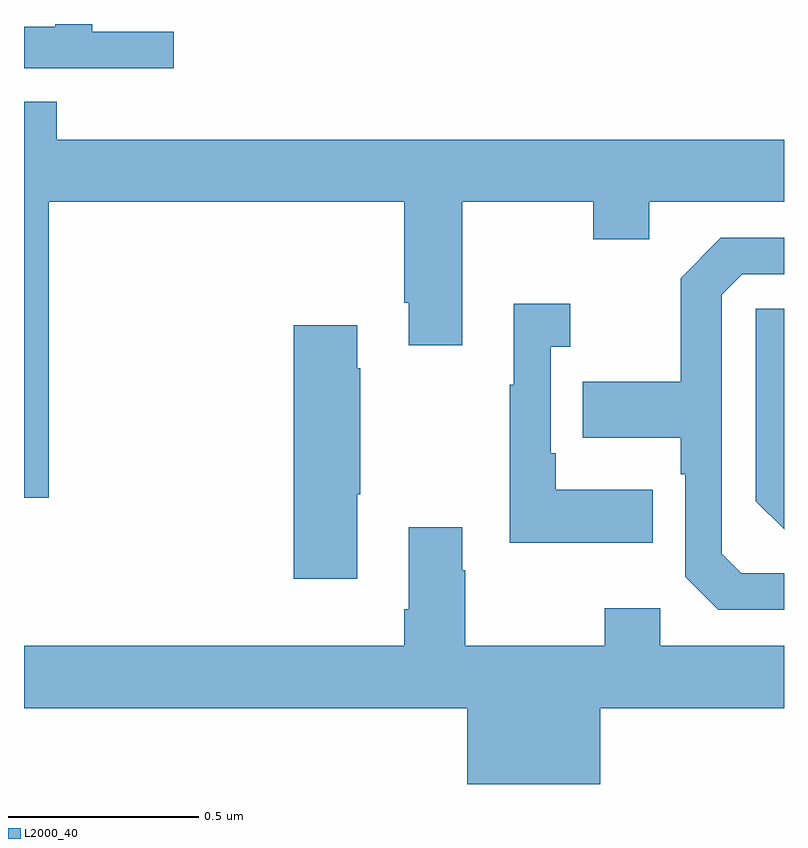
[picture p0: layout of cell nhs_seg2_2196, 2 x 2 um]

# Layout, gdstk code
import gdstk
lib = gdstk.Library(unit=1e-6, precision=1e-09)
def P(c, l, *ps):  # polygons
    for p in ps: c.add(gdstk.Polygon(p, *l))
L2000_40 = (2000, 40)

nhs_seg2_2196 = lib.new_cell('nhs_seg2_2196')
P(nhs_seg2_2196, L2000_40, [(138.394,618.78),(138.18,618.78),(138.18,618.8),(138.082,618.8),(138.082,618.793),(138,618.793),(138,618.684),(138.394,618.684)],
  [(138.065,618.332),(139.001,618.332),(139.001,618.067),(139.013,618.067),(139.013,617.955),(139.153,617.955),(139.153,618.332),(139.498,618.332),(139.498,618.233),(139.645,618.233),(139.645,618.332),(140,618.332),(140,618.496),(138.086,618.496),(138.086,618.595),(138,618.595),(138,617.553),(138.065,617.553)],
  [(140,617.355),(139.887,617.355),(139.836,617.406),(139.836,618.087),(139.89,618.141),(140,618.141),(140,618.237),(139.833,618.237),(139.728,618.131),(139.728,617.859),(139.471,617.859),(139.471,617.711),(139.728,617.711),(139.728,617.615),(139.74,617.615),(139.74,617.346),(139.827,617.259),(140,617.259)],
  [(139.655,617.575),(139.399,617.575),(139.399,617.671),(139.386,617.671),(139.386,617.951),(139.438,617.951),(139.438,618.064),(139.289,618.064),(139.289,617.851),(139.278,617.851),(139.278,617.435),(139.655,617.435)],
  [(140,618.051),(139.926,618.051),(139.926,617.544),(140,617.47)],
  [(138.877,617.563),(138.885,617.563),(138.885,617.894),(138.877,617.894),(138.877,618.007),(138.71,618.007),(138.71,617.34),(138.877,617.34)],
  [(139.516,617),(140,617),(140,617.164),(139.674,617.164),(139.674,617.263),(139.528,617.263),(139.528,617.164),(139.161,617.164),(139.161,617.363),(139.153,617.363),(139.153,617.476),(139.013,617.476),(139.013,617.26),(139.001,617.26),(139.001,617.164),(138,617.164),(138,617),(139.166,617),(139.166,616.8),(139.516,616.8)])

lib.write_gds('nhs_seg2_2196.gds')
